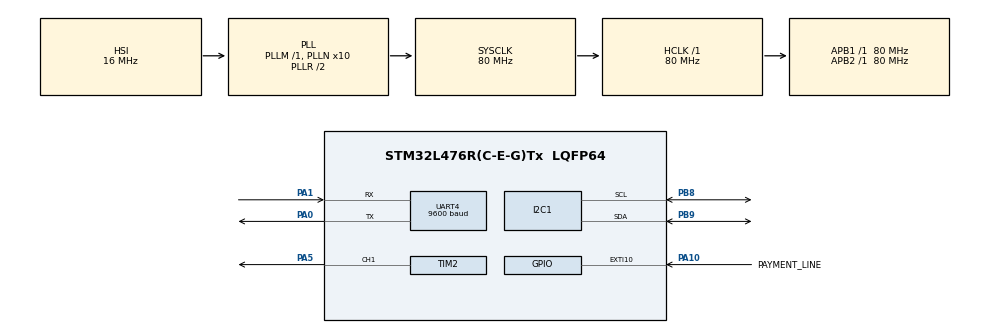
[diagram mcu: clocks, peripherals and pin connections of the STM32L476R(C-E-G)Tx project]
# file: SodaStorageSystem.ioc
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I2C1.Timing=0x10D19CE4
Mcu.Family=STM32L4
Mcu.Name=STM32L476R(C-E-G)Tx
Mcu.Package=LQFP64
NVIC.EXTI15_10_IRQn=true\:0\:0\:false\:false\:true\:true\:true\:true
NVIC.PriorityGroup=NVIC_PRIORITYGROUP_4
NVIC.UART4_IRQn=true\:0\:0\:false\:false\:true\:true\:true\:true
PA0.Mode=Asynchronous
PA0.Signal=UART4_TX
PA1.Mode=Asynchronous
PA1.Signal=UART4_RX
PA10.GPIO_Label=PAYMENT_LINE
PA10.GPIO_ModeDefaultEXTI=GPIO_MODE_IT_FALLING
PA10.GPIO_PuPd=GPIO_NOPULL
PA10.Signal=GPXTI10
PA13\ (JTMS-SWDIO).GPIO_Label=TMS
PA13\ (JTMS-SWDIO).Mode=Serial_Wire
PA13\ (JTMS-SWDIO).Signal=SYS_JTMS-SWDIO
PA14\ (JTCK-SWCLK).GPIO_Label=TCK
PA14\ (JTCK-SWCLK).Mode=Serial_Wire
PA14\ (JTCK-SWCLK).Signal=SYS_JTCK-SWCLK
PA5.Signal=S_TIM2_CH1
PB3\ (JTDO-TRACESWO).GPIO_Label=SWO
PB3\ (JTDO-TRACESWO).Signal=SYS_JTDO-SWO
PB8.GPIO_Pu=GPIO_PULLUP
PB8.Mode=I2C
PB8.Signal=I2C1_SCL
PB9.GPIO_Pu=GPIO_PULLUP
PB9.Mode=I2C
PB9.Signal=I2C1_SDA
PC14-OSC32_IN\ (PC14).Mode=LSE-External-Oscillator
PC14-OSC32_IN\ (PC14).Signal=RCC_OSC32_IN
PC15-OSC32_OUT\ (PC15).Mode=LSE-External-Oscillator
PC15-OSC32_OUT\ (PC15).Signal=RCC_OSC32_OUT
PH0-OSC_IN\ (PH0).Signal=RCC_OSC_IN
PH1-OSC_OUT\ (PH1).Signal=RCC_OSC_OUT
ProjectManager.HeapSize=0x200
ProjectManager.StackSize=0x400
ProjectManager.TargetToolchain=STM32CubeIDE
RCC.ADCFreq_Value=64000000
RCC.AHBFreq_Value=80000000
RCC.APB1Freq_Value=80000000
RCC.APB1TimFreq_Value=80000000
RCC.APB2Freq_Value=80000000
RCC.APB2TimFreq_Value=80000000
RCC.CortexFreq_Value=80000000
RCC.HCLKFreq_Value=80000000
RCC.HSE_VALUE=8000000
RCC.HSI_VALUE=16000000
RCC.MSI_VALUE=4000000
RCC.PLLN=10
RCC.PLLSourceVirtual=RCC_PLLSOURCE_HSI
RCC.PREFETCH_ENABLE=1
RCC.SYSCLKFreq_VALUE=80000000
RCC.SYSCLKSource=RCC_SYSCLKSOURCE_PLLCLK
RCC.USBFreq_Value=64000000
RCC.VCOOutputFreq_Value=160000000
SH.S_TIM2_CH1.0=TIM2_CH1,PWM Generation1 CH1
TIM2.AutoReloadPreload=TIM_AUTORELOAD_PRELOAD_ENABLE
TIM2.Channel-PWM\ Generation1\ CH1=TIM_CHANNEL_1
TIM2.Period=39999
TIM2.Prescaler=39
UART4.BaudRate=9600
VP_TIM2_VS_ClockSourceINT.Mode=Internal
board=NUCLEO-L476RG

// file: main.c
/* USER CODE BEGIN Header */
/**
  ******************************************************************************
  * @file           : main.c
  * @brief          : Main program body
  ******************************************************************************
  * @attention
  *
  * Copyright (c) 2026 STMicroelectronics.
  * All rights reserved.
  *
  * This software is licensed under terms that can be found in the LICENSE file
  * in the root directory of this software component.
  * If no LICENSE file comes with this software, it is provided AS-IS.
  *
  ******************************************************************************
  */
/* USER CODE END Header */
#include "main.h"

/* USER CODE BEGIN Includes */
#include <stdio.h>  // For sprintf
#include <stdlib.h> // For atoi
/* USER CODE END Includes */

/* USER CODE BEGIN PM */
// 1602 I2C address
#define I2C_ADDR 0x27 // I2C address of the PCF8574
// 1602 dimensions
#define LCD_ROWS 2 // Number of rows on the LCD
#define LCD_COLS 16 // Number of columns on the LCD
// 1602 message bit numbers
#define DC_BIT 0 // Data/Command bit (register select bit)
#define EN_BIT 2 // Enable bit
#define BL_BIT 3 // Backlight bit
#define D4_BIT 4 // Data 4 bit
#define D5_BIT 5 // Data 5 bit
#define D6_BIT 6 // Data 6 bit
#define D7_BIT 7 // Data 7 bit
/* USER CODE END PM */

I2C_HandleTypeDef hi2c1;

TIM_HandleTypeDef htim2;

UART_HandleTypeDef huart4;

/* USER CODE BEGIN PV */
volatile uint8_t payment_received = 0;
volatile int current_stock = 0;
volatile uint8_t update_display_flag = 1; // Start at 1 to show initial 0 stock
char rx_buffer[10];
char rx_char;
/* USER CODE END PV */

void SystemClock_Config(void);
static void MX_GPIO_Init(void);
static void MX_I2C1_Init(void);
static void MX_TIM2_Init(void);
static void MX_UART4_Init(void);
/* USER CODE BEGIN PFP */
void CharLCD_Write_Nibble (uint8_t nibble, uint8_t dc);
void CharLCD_Send_Cmd(uint8_t cmd);
void CharLCD_Send_Data(uint8_t data);
void CharLCD_Init();
void CharLCD_Write_String(char *str);
void CharLCD_Set_Cursor(uint8_t row, uint8_t column);
void CharLCD_Clear(void);
void HAL_GPIO_EXTI_Callback(uint16_t GPIO_Pin);
void Servo_Swing_And_Return(float swing_percent);
/* USER CODE END PFP */

int main(void)
{

  /* MCU Configuration--------------------------------------------------------*/

  /* Reset of all peripherals, Initializes the Flash interface and the Systick. */
  HAL_Init();

  /* Configure the system clock */
  SystemClock_Config();

  /* Initialize all configured peripherals */
  MX_GPIO_Init();
  MX_I2C1_Init();
  MX_TIM2_Init();
  MX_UART4_Init();
  /* USER CODE BEGIN 2 */
  CharLCD_Init(); // Initialize the LCD
  CharLCD_Set_Cursor(0,0); // Set cursor to row 0, column 0
  CharLCD_Write_String("Vending Machine");
//  CharLCD_Set_Cursor(1,0); // Set cursor to row 1, column 0
//  CharLCD_Write_String("random citizen!");
  HAL_TIM_PWM_Start(&htim2, TIM_CHANNEL_1); // start PWM on Timer2’s Channel 1
  HAL_UART_Receive_IT(&huart4, (uint8_t*)&rx_char, 1);

  /* USER CODE END 2 */

  /* Infinite loop */
  /* USER CODE BEGIN WHILE */
  /* Corrected STM32 Loop */
  while (1) {
      if (payment_received) {
          if (current_stock > 0) {
              current_stock--; // Only decrement once per payment!
              Servo_Swing_And_Return(25.0);
              update_display_flag = 1;
          } else {
              CharLCD_Set_Cursor(1, 0);
              CharLCD_Write_String("OUT OF STOCK!   ");
              HAL_Delay(1000);
              update_display_flag = 1;
          }
          payment_received = 0;
      }

      // Move this OUTSIDE the payment_received block
      if (update_display_flag) {
          char buffer[16];
          sprintf(buffer, "Stock: %d       ", current_stock);
          CharLCD_Set_Cursor(1, 0);
          CharLCD_Write_String(buffer);
          update_display_flag = 0;
      }
  }
    /* USER CODE END WHILE */

}

void SystemClock_Config(void)
{
  RCC_OscInitTypeDef RCC_OscInitStruct = {0};
  RCC_ClkInitTypeDef RCC_ClkInitStruct = {0};

  /** Configure the main internal regulator output voltage
  */
  if (HAL_PWREx_ControlVoltageScaling(PWR_REGULATOR_VOLTAGE_SCALE1) != HAL_OK)
  {
    Error_Handler();
  }

  /** Initializes the RCC Oscillators according to the specified parameters
  * in the RCC_OscInitTypeDef structure.
  */
  RCC_OscInitStruct.OscillatorType = RCC_OSCILLATORTYPE_HSI;
  RCC_OscInitStruct.HSIState = RCC_HSI_ON;
  RCC_OscInitStruct.HSICalibrationValue = RCC_HSICALIBRATION_DEFAULT;
  RCC_OscInitStruct.PLL.PLLState = RCC_PLL_ON;
  RCC_OscInitStruct.PLL.PLLSource = RCC_PLLSOURCE_HSI;
  RCC_OscInitStruct.PLL.PLLM = 1;
  RCC_OscInitStruct.PLL.PLLN = 10;
  RCC_OscInitStruct.PLL.PLLP = RCC_PLLP_DIV7;
  RCC_OscInitStruct.PLL.PLLQ = RCC_PLLQ_DIV2;
  RCC_OscInitStruct.PLL.PLLR = RCC_PLLR_DIV2;
  if (HAL_RCC_OscConfig(&RCC_OscInitStruct) != HAL_OK)
  {
    Error_Handler();
  }

  /** Initializes the CPU, AHB and APB buses clocks
  */
  RCC_ClkInitStruct.ClockType = RCC_CLOCKTYPE_HCLK|RCC_CLOCKTYPE_SYSCLK
                              |RCC_CLOCKTYPE_PCLK1|RCC_CLOCKTYPE_PCLK2;
  RCC_ClkInitStruct.SYSCLKSource = RCC_SYSCLKSOURCE_PLLCLK;
  RCC_ClkInitStruct.AHBCLKDivider = RCC_SYSCLK_DIV1;
  RCC_ClkInitStruct.APB1CLKDivider = RCC_HCLK_DIV1;
  RCC_ClkInitStruct.APB2CLKDivider = RCC_HCLK_DIV1;

  if (HAL_RCC_ClockConfig(&RCC_ClkInitStruct, FLASH_LATENCY_4) != HAL_OK)
  {
    Error_Handler();
  }
}

static void MX_I2C1_Init(void)
{

  hi2c1.Instance = I2C1;
  hi2c1.Init.Timing = 0x10D19CE4;
  hi2c1.Init.OwnAddress1 = 0;
  hi2c1.Init.AddressingMode = I2C_ADDRESSINGMODE_7BIT;
  hi2c1.Init.DualAddressMode = I2C_DUALADDRESS_DISABLE;
  hi2c1.Init.OwnAddress2 = 0;
  hi2c1.Init.OwnAddress2Masks = I2C_OA2_NOMASK;
  hi2c1.Init.GeneralCallMode = I2C_GENERALCALL_DISABLE;
  hi2c1.Init.NoStretchMode = I2C_NOSTRETCH_DISABLE;
  if (HAL_I2C_Init(&hi2c1) != HAL_OK)
  {
    Error_Handler();
  }

  /** Configure Analogue filter
  */
  if (HAL_I2CEx_ConfigAnalogFilter(&hi2c1, I2C_ANALOGFILTER_ENABLE) != HAL_OK)
  {
    Error_Handler();
  }

  /** Configure Digital filter
  */
  if (HAL_I2CEx_ConfigDigitalFilter(&hi2c1, 0) != HAL_OK)
  {
    Error_Handler();
  }

}

static void MX_TIM2_Init(void)
{

  TIM_ClockConfigTypeDef sClockSourceConfig = {0};
  TIM_MasterConfigTypeDef sMasterConfig = {0};
  TIM_OC_InitTypeDef sConfigOC = {0};

  htim2.Instance = TIM2;
  htim2.Init.Prescaler = 39;
  htim2.Init.CounterMode = TIM_COUNTERMODE_UP;
  htim2.Init.Period = 39999;
  htim2.Init.ClockDivision = TIM_CLOCKDIVISION_DIV1;
  htim2.Init.AutoReloadPreload = TIM_AUTORELOAD_PRELOAD_ENABLE;
  if (HAL_TIM_Base_Init(&htim2) != HAL_OK)
  {
    Error_Handler();
  }
  sClockSourceConfig.ClockSource = TIM_CLOCKSOURCE_INTERNAL;
  if (HAL_TIM_ConfigClockSource(&htim2, &sClockSourceConfig) != HAL_OK)
  {
    Error_Handler();
  }
  if (HAL_TIM_PWM_Init(&htim2) != HAL_OK)
  {
    Error_Handler();
  }
  sMasterConfig.MasterOutputTrigger = TIM_TRGO_RESET;
  sMasterConfig.MasterSlaveMode = TIM_MASTERSLAVEMODE_DISABLE;
  if (HAL_TIMEx_MasterConfigSynchronization(&htim2, &sMasterConfig) != HAL_OK)
  {
    Error_Handler();
  }
  sConfigOC.OCMode = TIM_OCMODE_PWM1;
  sConfigOC.Pulse = 0;
  sConfigOC.OCPolarity = TIM_OCPOLARITY_HIGH;
  sConfigOC.OCFastMode = TIM_OCFAST_DISABLE;
  if (HAL_TIM_PWM_ConfigChannel(&htim2, &sConfigOC, TIM_CHANNEL_1) != HAL_OK)
  {
    Error_Handler();
  }
  HAL_TIM_MspPostInit(&htim2);

}

static void MX_UART4_Init(void)
{

  huart4.Instance = UART4;
  huart4.Init.BaudRate = 9600;
  huart4.Init.WordLength = UART_WORDLENGTH_8B;
  huart4.Init.StopBits = UART_STOPBITS_1;
  huart4.Init.Parity = UART_PARITY_NONE;
  huart4.Init.Mode = UART_MODE_TX_RX;
  huart4.Init.HwFlowCtl = UART_HWCONTROL_NONE;
  huart4.Init.OverSampling = UART_OVERSAMPLING_16;
  huart4.Init.OneBitSampling = UART_ONE_BIT_SAMPLE_DISABLE;
  huart4.AdvancedInit.AdvFeatureInit = UART_ADVFEATURE_NO_INIT;
  if (HAL_UART_Init(&huart4) != HAL_OK)
  {
    Error_Handler();
  }

}

static void MX_GPIO_Init(void)
{
  GPIO_InitTypeDef GPIO_InitStruct = {0};

  /* GPIO Ports Clock Enable */
  __HAL_RCC_GPIOC_CLK_ENABLE();
  __HAL_RCC_GPIOH_CLK_ENABLE();
  __HAL_RCC_GPIOA_CLK_ENABLE();
  __HAL_RCC_GPIOB_CLK_ENABLE();

  /*Configure GPIO pin : PAYMENT_LINE_Pin */
  GPIO_InitStruct.Pin = PAYMENT_LINE_Pin;
  GPIO_InitStruct.Mode = GPIO_MODE_IT_FALLING;
  GPIO_InitStruct.Pull = GPIO_NOPULL;
  HAL_GPIO_Init(PAYMENT_LINE_GPIO_Port, &GPIO_InitStruct);

  /* EXTI interrupt init*/
  HAL_NVIC_SetPriority(EXTI15_10_IRQn, 0, 0);
  HAL_NVIC_EnableIRQ(EXTI15_10_IRQn);

}

/* USER CODE BEGIN 4 */
void HAL_GPIO_EXTI_Callback(uint16_t GPIO_Pin) {
	// This is where you will put the code that gets called when an interrupt occurs.
    if (GPIO_Pin == PAYMENT_LINE_Pin) { // PA10
        payment_received = 1;
    }
}
void HAL_UART_RxCpltCallback(UART_HandleTypeDef *huart) {
    static char msg[10];
    static int idx = 0;

    if (huart->Instance == UART4) {
        // Check for line terminators sent by the ESP32
        if (rx_char == '\n' || rx_char == '\r') {
            if (idx > 0) { // Only process if we actually have characters
                msg[idx] = '\0';
                current_stock = atoi(msg);
                update_display_flag = 1; // Trigger LCD update in main loop
                idx = 0;
            }
        }
        // Accept only digits to keep current_stock clean
        else if (idx < 9 && rx_char >= '0' && rx_char <= '9') {
            msg[idx++] = rx_char;
        }

        // IMPORTANT: Re-enable the interrupt to listen for the NEXT byte
        HAL_UART_Receive_IT(&huart4, (uint8_t*)&rx_char, 1);
    }
}
/**
 * @brief Swings the servo by a percentage of its total range and returns to center.
 * @param swing_percent: The percentage of the total range to move (e.g., 25.0)
 */
void Servo_Swing_And_Return(float swing_percent) {
    uint32_t rest_pos = 3000;    // 1.5ms (Center)
    uint32_t total_range = 4000;  // Difference between 1000 and 5000

    // Calculate how many CCR units the percentage represents
    uint32_t offset = (uint32_t)((swing_percent / 100.0f) * total_range);
    uint32_t target_pos = rest_pos + offset;

    // Constrain the target to stay within safe hardware limits (1000 to 5000)
    if (target_pos > 5000) target_pos = 5000;

    // --- Swing Out ---
    for (uint32_t pos = rest_pos; pos <= target_pos; pos += 20) {
        TIM2->CCR1 = pos;
        HAL_Delay(10); // Adjust for speed; lower is faster
    }

    HAL_Delay(500); // Pause at the peak for half a second

    // --- Return to Rest ---
    for (uint32_t pos = target_pos; pos >= rest_pos; pos -= 20) {
        TIM2->CCR1 = pos;
        HAL_Delay(10);
    }
}
/**
 * @brief Write a 4-bit nibble to the LCD via I2C
 * @param nibble: 4-bit data to send (lower 4 bits)
 * @param dc: data/command (1 = data, 0 = command)
 * @retval None
 */
void CharLCD_Write_Nibble(uint8_t nibble, uint8_t dc) {
 uint8_t data = nibble << D4_BIT; // Shift nibble to D4-D7 position
 data |= dc << DC_BIT; // Set DC bit for data/command selection
 data |= 1 << BL_BIT; // Include backlight state in data
 data |= 1 << EN_BIT; // Set enable bit high
 HAL_I2C_Master_Transmit(&hi2c1, I2C_ADDR << 1, &data, 1, 100); // Send data with EN high
 HAL_Delay(1); // Wait for data setup
 data &= ~(1 << EN_BIT); // Clear enable bit (falling edge triggers LCD)
 HAL_I2C_Master_Transmit(&hi2c1, I2C_ADDR << 1, &data, 1, 100); // Send data with EN low
}
/**
 * @brief Send command to LCD
 * @param cmd: 8-bit command to send to LCD controller
 * @retval None
 */
void CharLCD_Send_Cmd(uint8_t cmd) {
 uint8_t upper_nibble = cmd >> 4; // Extract upper 4 bits
 uint8_t lower_nibble = cmd & 0x0F; // Extract lower 4 bits
 CharLCD_Write_Nibble(upper_nibble, 0); // Send upper nibble (DC=0 for command)
 CharLCD_Write_Nibble(lower_nibble, 0); // Send lower nibble (DC=0 for command)
 if (cmd == 0x01 || cmd == 0x02) { // Clear display or return home commands
 HAL_Delay(2); // These commands need extra time
 }
}
/**
 * @brief Send data (character) to LCD
 * @param data: 8-bit character data to display
 * @retval None
 */
void CharLCD_Send_Data(uint8_t data) {
 uint8_t upper_nibble = data >> 4; // Extract upper 4 bits
 uint8_t lower_nibble = data & 0x0F; // Extract lower 4 bits
 CharLCD_Write_Nibble(upper_nibble, 1); // Send upper nibble (DC=1 for data)
 CharLCD_Write_Nibble(lower_nibble, 1); // Send lower nibble (DC=1 for data)
}
/**
 * @brief Initialize LCD in 4-bit mode via I2C
 * @param None
 * @retval None
 */
void CharLCD_Init() {

 CharLCD_Write_Nibble(0x03, 0); // Function set: 8-bit mode (first attempt)
 HAL_Delay(5); // Wait >4.1ms
 CharLCD_Write_Nibble(0x03, 0); // Function set: 8-bit mode (second attempt)
 HAL_Delay(1); // Wait >100us
 CharLCD_Write_Nibble(0x03, 0); // Function set: 8-bit mode (third attempt)
 HAL_Delay(1); // Wait >100us
 CharLCD_Write_Nibble(0x02, 0); // Function set: switch to 4-bit mode
 CharLCD_Send_Cmd(0x28); // Function set: 4-bit, 2 lines, 5x8 font
 CharLCD_Send_Cmd(0x0C); // Display control: display on/cursor off/blink off
 CharLCD_Send_Cmd(0x06); // Entry mode: increment cursor, no shift
 CharLCD_Send_Cmd(0x01); // Clear display
 HAL_Delay(2); // Wait for clear display command
}

/**
 * @brief Write string to LCD at current cursor position
 * @param str: Pointer to null-terminated string
 * @retval None
 */
void CharLCD_Write_String(char *str) {
 while (*str) { // Loop until null terminator
 CharLCD_Send_Data(*str++); // Send each character and increment pointer
 }
}
/**
 * @brief Set cursor position on LCD
 * @param row: Row number (0 or 1 for 2-line display)
 * @param column: Column number (0 to display width - 1)
 * @retval None
 */
void CharLCD_Set_Cursor(uint8_t row, uint8_t column) {
 uint8_t address;
 switch (row) {
 case 0:
 address = 0x00; break; // First line starts at address 0x00
 case 1:
 address = 0x40; break; // Second line starts at address 0x40
 default:
 address = 0x00; // Default to first line for invalid row
 }
 address += column; // Add column offset
 CharLCD_Send_Cmd(0x80 | address); // Set DDRAM address command (0x80 + address)
}
/**
 * @brief Clear LCD display and return cursor to home position
 * @param None
 * @retval None
 */
void CharLCD_Clear(void) {
 CharLCD_Send_Cmd(0x01); // Clear display command
 HAL_Delay(2); // Wait for command execution
}
/* USER CODE END 4 */

void Error_Handler(void)
{
  __disable_irq();
  while (1)
  {
  }
}
